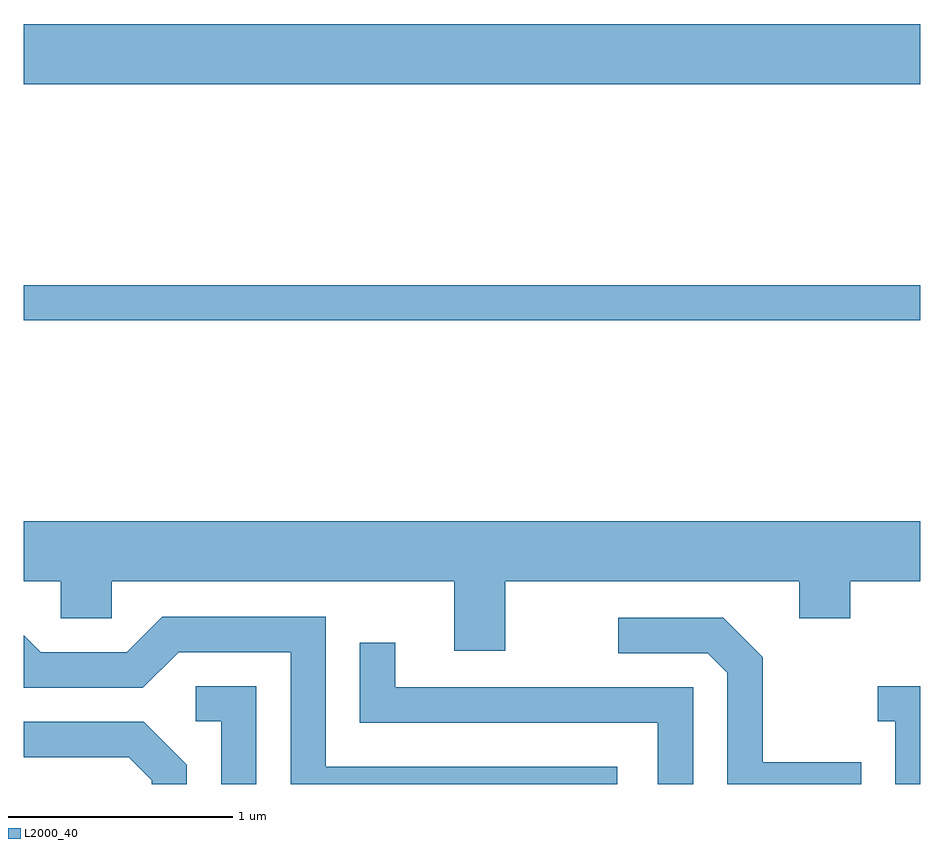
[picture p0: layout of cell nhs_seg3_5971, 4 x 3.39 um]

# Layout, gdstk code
import gdstk
lib = gdstk.Library(unit=1e-6, precision=1e-09)
def R(c, l, rs):  # rectangles x0, y0, x1, y1
    for r in rs: c.add(gdstk.rectangle(r[:2], r[2:], *l))
def P(c, l, *ps):  # polygons
    for p in ps: c.add(gdstk.Polygon(p, *l))
L2000_40 = (2000, 40)

nhs_seg3_5971 = lib.new_cell('nhs_seg3_5971')
R(nhs_seg3_5971, L2000_40, [(359.611,1235.961,363.611,1236.119), (359.611,1237.016,363.611,1237.284)])
P(nhs_seg3_5971, L2000_40, [(361.759,1234.796),(363.071,1234.796),(363.071,1234.631),(363.299,1234.631),(363.299,1234.796),(363.611,1234.796),(363.611,1235.064),(359.611,1235.064),(359.611,1234.796),(359.776,1234.796),(359.776,1234.631),(360.004,1234.631),(360.004,1234.796),(361.531,1234.796),(361.531,1234.486),(361.759,1234.486)],
  [(362.259,1233.969),(360.959,1233.969),(360.959,1234.639),(360.229,1234.639),(360.069,1234.479),(359.687,1234.479),(359.611,1234.555),(359.611,1234.321),(360.142,1234.321),(360.302,1234.481),(360.801,1234.481),(360.801,1233.892),(362.259,1233.892)],
  [(363.349,1233.989),(362.909,1233.989),(362.909,1234.457),(362.732,1234.634),(362.263,1234.634),(362.263,1234.476),(362.664,1234.476),(362.751,1234.389),(362.751,1233.892),(363.349,1233.892)],
  [(362.599,1234.324),(361.269,1234.324),(361.269,1234.523),(361.111,1234.523),(361.111,1234.166),(362.441,1234.166),(362.441,1233.892),(362.599,1233.892)],
  [(363.611,1234.329),(363.423,1234.329),(363.423,1234.171),(363.501,1234.171),(363.501,1233.892),(363.611,1233.892)],
  [(360.649,1234.329),(360.378,1234.329),(360.378,1234.171),(360.491,1234.171),(360.491,1233.892),(360.649,1233.892)],
  [(360.339,1233.977),(360.147,1234.169),(359.611,1234.169),(359.611,1234.011),(360.079,1234.011),(360.181,1233.909),(360.181,1233.892),(360.339,1233.892)])

lib.write_gds('nhs_seg3_5971.gds')
